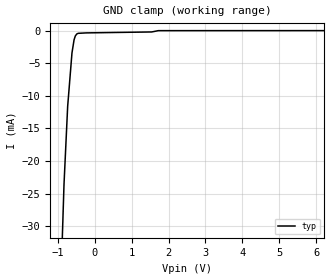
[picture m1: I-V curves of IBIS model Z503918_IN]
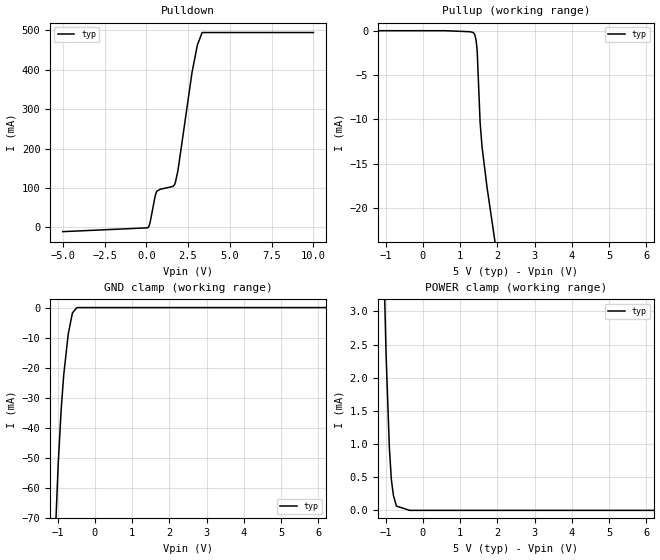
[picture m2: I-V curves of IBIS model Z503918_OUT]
| YOU ARE ONLY AUTHORIZED TO USE THIS SOFTWARE
| ACCORDING TO LICENSOR'S LICENSE RESTRICTIONS.
[IBIS Ver] 3.1
[File Name] mc54f194j.ibs
[File Rev] 2.0
[Source] Measured and created by ICX Technology
[Date] Friday 7/14/00 9:08:02 AM
[Copyright]
| (C) COPYRIGHT 1993-2000
| MENTOR GRAPHICS CORPORATION
| ICX STANDARD LIBRARY, ICX PROJECT MODELING,
| ICX CUSTOM MODELING, ICX VENDOR MODEL
| ALL RIGHTS RESERVED.
| THE FOLLOWING ARE TRADEMARKS OR SERVICE MARKS OF
| MENTOR GRAPHICS CORPORATION:ICX (R), ICX STANDARD
| LIBRARY(R), ICX PROJECT MODELING(R), ICX CUSTOM
| MODELING(R), qualityIBIS(TM), MODELVIEWER(TM),
| AND MODELEDITOR(TM)
| ALL COPIES OF SOFTWARE, INCLUDING BUT NOT LIMITED TO
| ANY MODIFICATIONS, ENHANCEMENTS OR DERIVATIVE WORKS,
| MUST CONTAIN ALL MENTOR GRAPHICS CORPORATION'S
| NOTICES AND LEGENDS, INCLUDING THOSE EMBEDDED IN
| SOFTWARE AND THOSE AFFIXED TO SOFTWARE MEDIUM
| AND CONTAINER, AS RECEIVED FROM MENTOR GRAPHICS
| CORPORATION.
|  ZAP Model Builder 2.7
[Component] MC54F194J
[Manufacturer] OnSemiconductor
[Package]
| variable   typ   min   max
R_pkg  .212ohms NA NA
L_pkg  4.758nH NA NA
C_pkg  1.944pF NA NA
[Pin] signal_name  model_name  R_pin  L_pin C_pin
1 _CLR Z503918_IN .224 7.258n 2.683p
2 SR_SER Z503918_IN .216 5.258n 2.19p
3 A Z503918_IN .208 3.758n 1.697p
4 B Z503918_IN .2 2.758n 1.204p
5 C Z503918_IN .2 2.758n 1.204p
6 D Z503918_IN .208 3.758n 1.697p
7 SL_SER Z503918_IN .216 5.258n 2.19p
8 GND GND .224 7.258n 2.683p
9 S0 Z503918_IN .224 7.258n 2.683p
10 S1 Z503918_IN .216 5.258n 2.19p
11 CLK Z503918_IN .208 3.758n 1.697p
12 QD Z503918_OUT .2 2.758n 1.204p
13 QC Z503918_OUT .2 2.758n 1.204p
14 QB Z503918_OUT .208 3.758n 1.697p
15 QA Z503918_OUT .216 5.258n 2.19p
16 VCC POWER .224 7.258n 2.683p
| Models and submodels in the file (2): Z503918_IN (Input), Z503918_OUT (Output)
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| (C) COPYRIGHT 1993-2000
| MENTOR GRAPHICS CORPORATION
| ICX STANDARD LIBRARY, ICX PROJECT MODELING,
| ICX CUSTOM MODELING, ICX VENDOR MODEL
| ALL RIGHTS RESERVED.
| THE FOLLOWING ARE TRADEMARKS OR SERVICE MARKS OF
| MENTOR GRAPHICS CORPORATION:ICX (R), ICX STANDARD
| LIBRARY(R), ICX PROJECT MODELING(R), ICX CUSTOM
| MODELING(R), qualityIBIS(TM), MODELVIEWER(TM),
| AND MODELEDITOR(TM)
| ALL COPIES OF SOFTWARE, INCLUDING BUT NOT LIMITED TO
| ANY MODIFICATIONS, ENHANCEMENTS OR DERIVATIVE WORKS,
| MUST CONTAIN ALL MENTOR GRAPHICS CORPORATION'S
| NOTICES AND LEGENDS, INCLUDING THOSE EMBEDDED IN
| SOFTWARE AND THOSE AFFIXED TO SOFTWARE MEDIUM
| AND CONTAINER, AS RECEIVED FROM MENTOR GRAPHICS
| CORPORATION.
| Model Application Version 1.89 2/18/99.
[Model] Z503918_IN
Model_type Input
Vinl = 800.0mV
Vinh = 2.000V
C_comp 4.000pF NA NA
| variable typ   min   max
[Voltage Range] 5.000V NA NA
[GND Clamp Reference] 0.000V NA NA
[POWER Clamp Reference] 5.000V NA NA
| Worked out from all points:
|   GND clamp passes 1 mA (typ) near -0.53 V on its own axis
[GND Clamp]
-5V       -767.5mA   NA         NA
-828.4mV  -23.59mA   NA         NA
-729.8mV  -11.65mA   NA         NA
-612.9mV  -3.423mA   NA         NA
-556.4mV  -1.414mA   NA         NA
-522.5mV  -820.7uA   NA         NA
-482.5mV  -514.4uA   NA         NA
-444.3mV  -414.6uA   NA         NA
-222.1mV  -349.4uA   NA         NA
1.545V    -206.2uA   NA         NA
1.723V    -5.783uA   NA         NA
10V       5.609uA    NA         NA
[POWER Clamp]
-5V       0A         NA         NA
10V       0A         NA         NA
| (C) COPYRIGHT 1993-2000
| MENTOR GRAPHICS CORPORATION
| ICX STANDARD LIBRARY, ICX PROJECT MODELING,
| ICX CUSTOM MODELING, ICX VENDOR MODEL
| ALL RIGHTS RESERVED.
| THE FOLLOWING ARE TRADEMARKS OR SERVICE MARKS OF
| MENTOR GRAPHICS CORPORATION:ICX (R), ICX STANDARD
| LIBRARY(R), ICX PROJECT MODELING(R), ICX CUSTOM
| MODELING(R), qualityIBIS(TM), MODELVIEWER(TM),
| AND MODELEDITOR(TM)
| ALL COPIES OF SOFTWARE, INCLUDING BUT NOT LIMITED TO
| ANY MODIFICATIONS, ENHANCEMENTS OR DERIVATIVE WORKS,
| MUST CONTAIN ALL MENTOR GRAPHICS CORPORATION'S
| NOTICES AND LEGENDS, INCLUDING THOSE EMBEDDED IN
| SOFTWARE AND THOSE AFFIXED TO SOFTWARE MEDIUM
| AND CONTAINER, AS RECEIVED FROM MENTOR GRAPHICS
| CORPORATION.
| Model Application Version 1.89 2/18/99.
[Model] Z503918_OUT
Model_type Output
Vref=0.000V
Rref=500.0ohms
Cref=50.00pF
Vmeas=1.500V
C_comp 8.000pF NA NA
| variable typ   min   max
[Voltage Range] 5.000V NA NA
[POWER Clamp Reference] 5.000V NA NA
[Pullup Reference] 5.000V NA NA
[Pulldown Reference] 0.000V NA NA
[GND Clamp Reference] 0.000V NA NA
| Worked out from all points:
|   slope of the pulldown table from 0 to 0.75 V, typ, clamps not added: 7.81 ohm
|   slope of the pullup table from 0 to 0.75 V, typ, clamps not added: 27 kohm
|   GND clamp passes 1 mA (typ) near -0.55 V on its own axis
|   POWER clamp passes 1 mA (typ) near -0.90 V on its own axis
[GND Clamp]
-5V       -1.632A    NA         NA
-1.123V   -93.19mA   NA         NA
-986.3mV  -51.91mA   NA         NA
-908.2mV  -34.07mA   NA         NA
-839.5mV  -22.49mA   NA         NA
-717.7mV  -8.796mA   NA         NA
-605.3mV  -1.796mA   NA         NA
-484.2mV  0A         NA         NA
10V       0A         NA         NA
[Pulldown]
-5V       -11.01mA   NA         NA
150.6mV   1.944mA    NA         NA
234.4mV   13.81mA    NA         NA
507.8mV   75.03mA    NA         NA
625.2mV   91.59mA    NA         NA
1.592V    103.8mA    NA         NA
1.741V    114.2mA    NA         NA
1.934V    156.2mA    NA         NA
2.734V    392.8mA    NA         NA
3.057V    462.9mA    NA         NA
3.34V     494.3mA    NA         NA
10V       494.4mA    NA         NA
[Pullup]
-5V       16.68uA    NA         NA
586mV     16.68uA    NA         NA
1.26V     -97.29uA   NA         NA
1.343V    -170.6uA   NA         NA
1.382V    -327.4uA   NA         NA
1.4V      -491.6uA   NA         NA
1.432V    -1.117mA   NA         NA
1.46V     -2.271mA   NA         NA
1.538V    -10.32mA   NA         NA
1.59V     -13.1mA    NA         NA
1.722V    -17.6mA    NA         NA
10V       -256.3mA   NA         NA
[POWER Clamp]
-5V       109mA      NA         NA
-1.099V   4.858mA    NA         NA
-986mV    2.352mA    NA         NA
-899mV    953.3uA    NA         NA
-845mV    468.1uA    NA         NA
-789mV    224.4uA    NA         NA
-708mV    64.28uA    NA         NA
-354mV    0A         NA         NA
10V       0A         NA         NA
[Ramp]
| variable typ min max
dV/dt_r 2.036/2.863n NA NA
dV/dt_f 2.036/907.3p NA NA
R_load = 500.0Ohms
